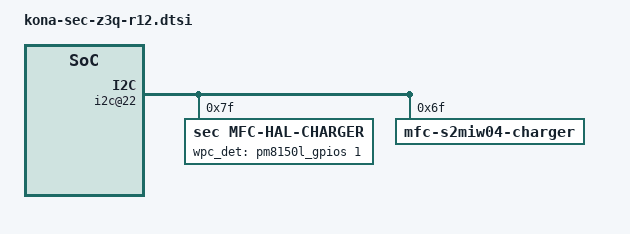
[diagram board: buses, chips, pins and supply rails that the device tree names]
/* Copyright (c) 2019, The Linux Foundation. All rights reserved.
 *
 * This program is free software; you can redistribute it and/or modify
 * it under the terms of the GNU General Public License version 2 and
 * only version 2 as published by the Free Software Foundation.
 *
 * This program is distributed in the hope that it will be useful,
 * but WITHOUT ANY WARRANTY; without even the implied warranty of
 * MERCHANTABILITY or FITNESS FOR A PARTICULAR PURPOSE.  See the
 * GNU General Public License for more details.
 */

#include "kona-sec-z3q-r09.dtsi"
#include "kona-sec-z3q-pinctrl-r12.dtsi"

#include "../drivers/kona-sec-z3q-display-r01.dtsi"
#include "../drivers/kona-sec-z3q-mst-r12.dtsi"
#include "../drivers/battery-rx-data-z3q-lsi.dtsi"

&soc {
	i2c@22 {
		mfc-hal-charger@7f {
			compatible = "sec,mfc-hal-charger";
			reg = <0x7f>;
			status = "okay";

			battery,wpc_det = <&pm8150l_gpios 1 GPIO_ACTIVE_HIGH>; /* WPC_DET */
			battery,charger_name = "max77705-charger";
		};

		mfc-s2miw04-charger@3b {
			reg = <0x6f>;
		};
	};
};
